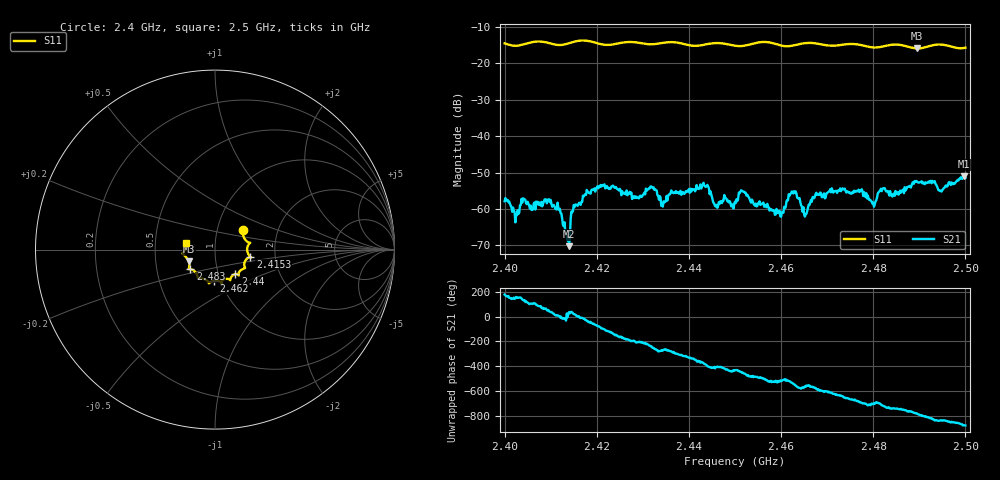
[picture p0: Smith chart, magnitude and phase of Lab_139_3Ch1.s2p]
# Hz S RI R 50
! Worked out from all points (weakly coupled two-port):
!   601 points, 2.4 GHz to 2.5 GHz, reference 50 ohm
!   highest |S21| = -51.00 dB at 2.4997 GHz (marker M1); lowest = -70.2 dB at 2.414 GHz (marker M2)
!   lowest |S11| = -15.9 dB at 2.4895 GHz (marker M3), VSWR 1.38, Z = 37 - j4.99 ohm
!   |S11| at or under -10 dB: start of sweep to end of sweep
!   S12 and S22 are empty: the file has one direction only
!   S11 on the Smith chart (normalised r, x): 2.4 GHz: 1.33, +0.29; 2.4153 GHz: 1.48, -0.12; 2.44 GHz: 1.20, -0.34; 2.462 GHz: 0.93, -0.33; 2.483 GHz: 0.74, -0.17; 2.5 GHz: 0.72, +0.06
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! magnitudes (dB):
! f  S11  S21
! 2.4 GHz  -14.5  -57.9
! 2.4027 GHz  -15.1  -61.7
! 2.404 GHz  -14.8  -57.1
! 2.4095 GHz  -14.4  -57.8
! 2.414 GHz  -14.5  -70.2
! 2.4153 GHz  -14.0  -58.8
! 2.4167 GHz  -13.7  -58.1
! 2.4212 GHz  -14.8  -53.4
! 2.4333 GHz  -14.6  -56.4
! 2.44 GHz  -15.0  -54.5
! 2.45 GHz  -15.1  -58.0
! 2.4518 GHz  -15.2  -55.3
! 2.46 GHz  -15.1  -62.1
! 2.462 GHz  -15.2  -55.9
! 2.4652 GHz  -14.4  -62.1
! 2.4667 GHz  -14.4  -58.0
! 2.483 GHz  -15.1  -55.1
! 2.4833 GHz  -15.0  -55.6
! 2.4895 GHz  -15.9  -52.5
! 2.4947 GHz  -14.8  -55.0
! 2.4997 GHz  -15.8  -51.0
! 2.5 GHz  -15.7  -51.5
